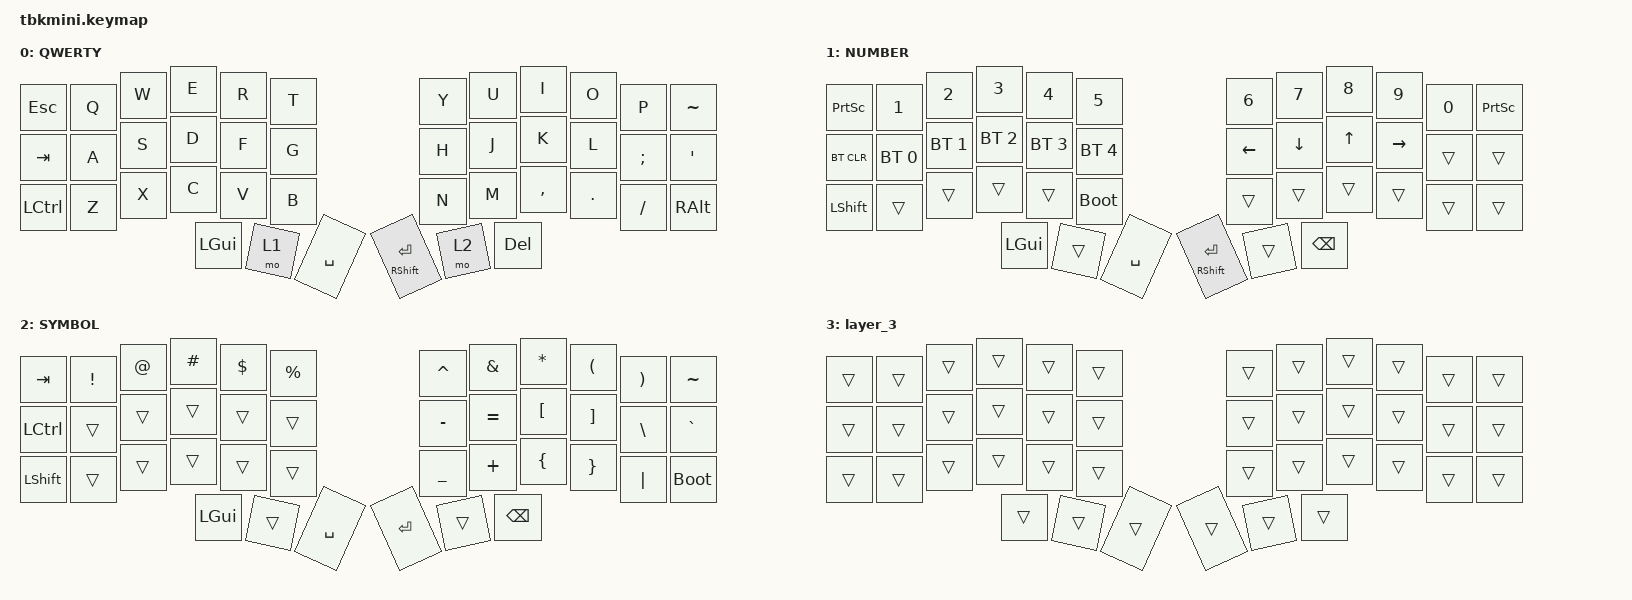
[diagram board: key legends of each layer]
#include <behaviors.dtsi>
#include <dt-bindings/zmk/bt.h>
#include <dt-bindings/zmk/keys.h>


/ {
    chosen {
        zmk,physical-layout = &physical_layout0;
    };
};
 
/ {
    keymap {
        compatible = "zmk,keymap";

        default_layer {
            display-name = "QWERTY";

            // --------------------------------------------------------------------------------
            // |  ESCAPE |  Q  |  W  |  E  |  R  |  T  |   |  Y  |  U   |  I  |  O  |  P  | TILDE |
            // | TAB |  A  |  S  |  D  |  F  |  G  |   |  H  |  J   |  K  |  L  |  ;  |  '   |
            // | LCTRL |  Z  |  X  |  C  |  V  |  B  |   |  N  |  M   |  ,  |  .  |  /  | RIGHT_ALT  |
            //                    | LGUI | LWR | SPC |   | ENT | RSE  | DELETE |

            bindings = <
&kp ESCAPE  &kp Q  &kp W  &kp E     &kp R  &kp T        &kp Y                  &kp U  &kp I       &kp O    &kp P     &kp TILDE
&kp TAB     &kp A  &kp S  &kp D     &kp F  &kp G        &kp H                  &kp J  &kp K       &kp L    &kp SEMI  &kp SQT
&kp LCTRL   &kp Z  &kp X  &kp C     &kp V  &kp B        &kp N                  &kp M  &kp COMMA   &kp DOT  &kp FSLH  &kp RIGHT_ALT
                          &kp LGUI  &mo 1  &kp SPACE    &mt RIGHT_SHIFT ENTER  &mo 2  &kp DELETE
            >;
        };

        lower_layer {
            display-name = "NUMBER";

            // -----------------------------------------------------------------------------------------
            // |  TAB |  1  |  2  |  3  |  4  |  5  |   |  6  |  7  |  8  |  9  |  0  | BSPC |
            // | BTCLR| BT1 | BT2 | BT3 | BT4 | BT5 |   | LFT | DWN |  UP | RGT |     |      |
            // | SHFT |     |     |     |     |  BTLDR |   |     |     |     |     |     |      |
            //                    | GUI |     | SPC |   | ENT |     | ALT |

            bindings = <
&kp PRINTSCREEN  &kp N1        &kp N2        &kp N3        &kp N4        &kp N5          &kp N6                 &kp N7    &kp N8         &kp N9     &kp N0  &kp PRINTSCREEN
&bt BT_CLR       &bt BT_SEL 0  &bt BT_SEL 1  &bt BT_SEL 2  &bt BT_SEL 3  &bt BT_SEL 4    &kp LEFT               &kp DOWN  &kp UP         &kp RIGHT  &trans  &trans
&kp LSHFT        &trans        &trans        &trans        &trans        &bootloader          &trans                 &trans    &trans         &trans     &trans  &trans
                                             &kp LGUI      &trans        &kp SPACE       &mt RIGHT_SHIFT ENTER  &trans    &kp BACKSPACE
            >;
        };

        raise_layer {
            display-name = "SYMBOL";

            // -----------------------------------------------------------------------------------------
            // |  TAB |  !  |  @  |  #  |  $  |  %  |   |  ^  |  &  |  *  |  (  |  )  | ~ |
            // | CTRL |     |     |     |     |     |   |  -  |  =  |  [  |  ]  |  \  |  `   |
            // | SHFT |     |     |     |     |     |   |  _  |  +  |  {  |  }  | "|" |  Bootloader  |
            //                    | GUI |     | SPC |   | ENT |     | ALT |

            bindings = <
&kp TAB    &kp EXCL  &kp AT  &kp HASH  &kp DLLR  &kp PRCNT    &kp CARET  &kp AMPS   &kp ASTRK      &kp LPAR  &kp RPAR  &kp TILDE
&kp LCTRL  &trans    &trans  &trans    &trans    &trans       &kp MINUS  &kp EQUAL  &kp LBKT       &kp RBKT  &kp BSLH  &kp GRAVE
&kp LSHFT  &trans    &trans  &trans    &trans    &trans       &kp UNDER  &kp PLUS   &kp LBRC       &kp RBRC  &kp PIPE  &bootloader
                             &kp LGUI  &trans    &kp SPACE    &kp RET    &trans     &kp BACKSPACE
            >;
        };

        layer_3 {
            bindings = <
&trans  &trans  &trans  &trans  &trans  &trans    &trans  &trans  &trans  &trans  &trans  &trans
&trans  &trans  &trans  &trans  &trans  &trans    &trans  &trans  &trans  &trans  &trans  &trans
&trans  &trans  &trans  &trans  &trans  &trans    &trans  &trans  &trans  &trans  &trans  &trans
                        &trans  &trans  &trans    &trans  &trans  &trans
            >;
        };
    };
};
